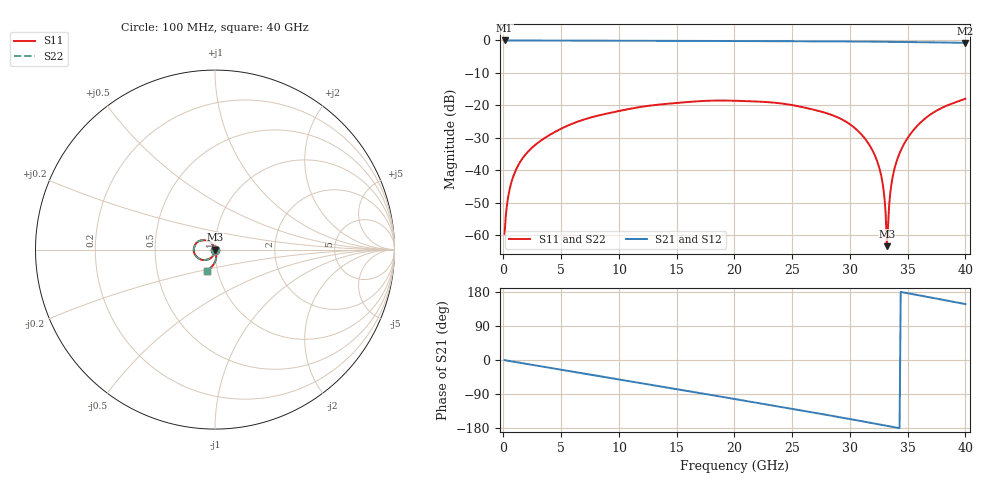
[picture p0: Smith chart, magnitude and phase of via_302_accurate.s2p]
! blank via, L1 to L16
! Trace 3D FDTD via solver; reference planes at the via centre
! Differential (mixed-mode Sdd) as a 2-port
# GHz S MA R 100
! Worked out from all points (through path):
!   400 points, 100 MHz to 40 GHz, reference 100 ohm
!   highest |S21| = 0.00 dB at 100 MHz (marker M1); lowest = -0.7 dB at 40 GHz (marker M2)
!   group delay of S21, straight-line fit = 14.7 ps
!   lowest |S11| = -63.4 dB at 33.2 GHz (marker M3), VSWR 1.00, Z = 100 + j0.11 ohm
!   |S11| at or under -10 dB: start of sweep to end of sweep
!   |S22| runs from -63.4 to -18.0 dB; largest |S21 - S12| = 0
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0.1  0.001047 -65.3  0.9998 -0.5  0.9998 -0.5  0.001047 -65.3
0.3  0.002874 -82.9  0.9997 -1.5  0.9997 -1.5  0.002874 -82.9
0.6  0.005678 -89.2  0.9995 -3.1  0.9995 -3.1  0.005678 -89.2
1  0.009377 -93.4  0.9993 -5.1  0.9993 -5.1  0.009377 -93.4
1.6  0.01476 -97.6  0.9989 -8.2  0.9989 -8.2  0.01476 -97.6
3.6  0.03157 -106.6  0.9975 -18.4  0.9975 -18.4  0.03157 -106.6
6.8  0.05906 -120.4  0.9944 -34.8  0.9944 -34.8  0.05906 -120.4
13.4  0.1024 -150.9  0.988 -68.5  0.988 -68.5  0.1024 -150.9
20.1  0.1175 176.8  0.979 -103.4  0.979 -103.4  0.1175 176.8
26.7  0.08709 143.4  0.9687 -137.9  0.9687 -137.9  0.08709 143.4
29.9  0.05255 124.0  0.9651 -155.3  0.9651 -155.3  0.05255 124.0
31.9  0.02107 111.3  0.959 -166.5  0.959 -166.5  0.02107 111.3
32.5  0.01153 107.8  0.9562 -169.8  0.9562 -169.8  0.01153 107.8
32.9  0.005215 103.3  0.9543 -172.0  0.9543 -172.0  0.005215 103.3
33.1  0.002072 93.4  0.9533 -173.1  0.9533 -173.1  0.002072 93.4
33.2  0.0006743 54.3  0.9529 -173.7  0.9529 -173.7  0.0006743 54.3
33.4  0.002894 -61.3  0.9519 -174.8  0.9519 -174.8  0.002894 -61.3
33.6  0.006153 -67.6  0.951 -175.9  0.951 -175.9  0.006153 -67.6
34  0.01291 -71.6  0.9491 -178.2  0.9491 -178.2  0.01291 -71.6
35.2  0.03533 -78.7  0.9443 175.1  0.9443 175.1  0.03533 -78.7
37.1  0.07479 -92.3  0.9363 164.3  0.9363 164.3  0.07479 -92.3
40  0.1263 -109.4  0.919 147.6  0.919 147.6  0.1263 -109.4
